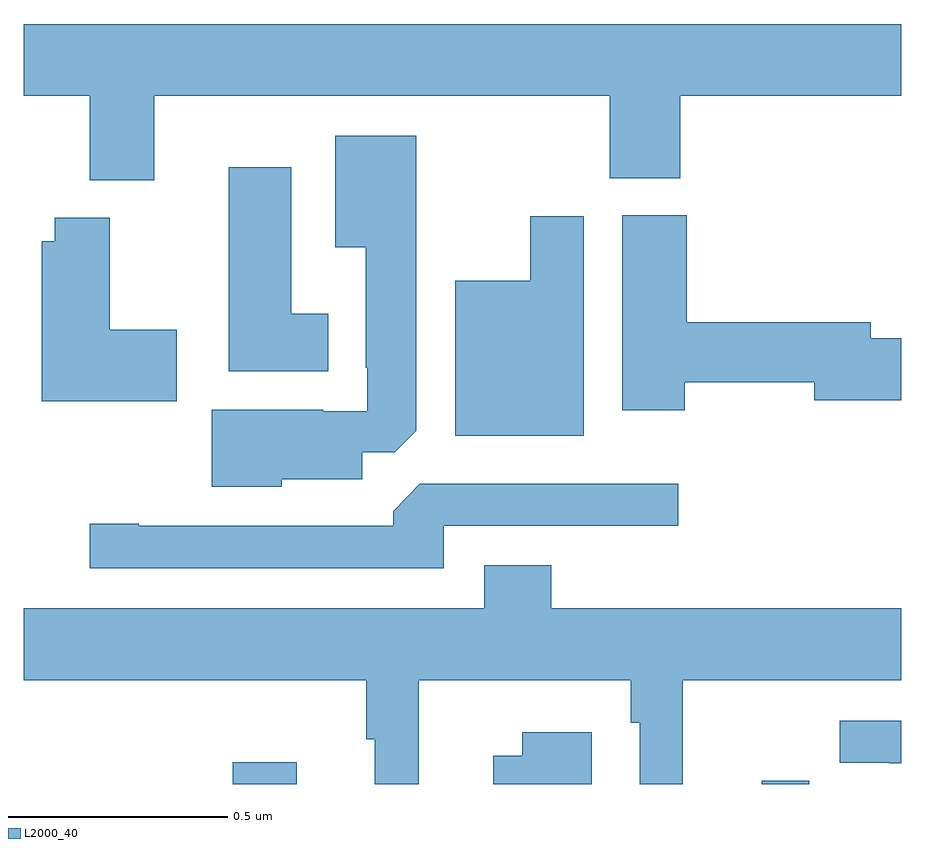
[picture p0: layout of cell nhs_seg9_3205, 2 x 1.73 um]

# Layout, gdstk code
import gdstk
lib = gdstk.Library(unit=1e-6, precision=1e-09)
def R(c, l, rs):  # rectangles x0, y0, x1, y1
    for r in rs: c.add(gdstk.rectangle(r[:2], r[2:], *l))
def P(c, l, *ps):  # polygons
    for p in ps: c.add(gdstk.Polygon(p, *l))
L2000_40 = (2000, 40)

nhs_seg9_3205 = lib.new_cell('nhs_seg9_3205')
R(nhs_seg9_3205, L2000_40, [(150.476,1213.5,150.622,1213.549), (151.682,1213.5,151.79,1213.507)])
P(nhs_seg9_3205, L2000_40, [(150.298,1215.068),(151.336,1215.068),(151.336,1214.881),(151.496,1214.881),(151.496,1215.068),(152,1215.068),(152,1215.232),(150,1215.232),(150,1215.068),(150.151,1215.068),(150.151,1214.876),(150.298,1214.876)],
  [(150.588,1214.195),(150.772,1214.195),(150.772,1214.256),(150.846,1214.256),(150.895,1214.305),(150.895,1214.977),(150.71,1214.977),(150.71,1214.723),(150.779,1214.723),(150.779,1214.449),(150.783,1214.449),(150.783,1214.349),(150.683,1214.349),(150.683,1214.353),(150.428,1214.353),(150.428,1214.177),(150.588,1214.177)],
  [(150.694,1214.572),(150.61,1214.572),(150.61,1214.905),(150.467,1214.905),(150.467,1214.441),(150.694,1214.441)],
  [(151.506,1214.416),(151.802,1214.416),(151.802,1214.374),(152,1214.374),(152,1214.516),(151.93,1214.516),(151.93,1214.552),(151.511,1214.552),(151.511,1214.796),(151.364,1214.796),(151.364,1214.352),(151.506,1214.352)],
  [(151.276,1214.794),(151.154,1214.794),(151.154,1214.647),(150.983,1214.647),(150.983,1214.294),(151.276,1214.294)],
  [(150.349,1214.535),(150.196,1214.535),(150.196,1214.791),(150.071,1214.791),(150.071,1214.737),(150.041,1214.737),(150.041,1214.372),(150.349,1214.372)],
  [(150.957,1214.088),(151.492,1214.088),(151.492,1214.184),(150.903,1214.184),(150.842,1214.122),(150.842,1214.088),(150.262,1214.088),(150.262,1214.093),(150.15,1214.093),(150.15,1213.992),(150.957,1213.992)],
  [(151.202,1213.999),(151.049,1213.999),(151.049,1213.9),(150,1213.9),(150,1213.736),(150.781,1213.736),(150.781,1213.602),(150.8,1213.602),(150.8,1213.5),(150.9,1213.5),(150.9,1213.736),(151.384,1213.736),(151.384,1213.64),(151.404,1213.64),(151.404,1213.5),(151.502,1213.5),(151.502,1213.736),(152,1213.736),(152,1213.9),(151.202,1213.9)],
  [(152,1213.644),(151.86,1213.644),(151.86,1213.548),(151.972,1213.548),(151.972,1213.547),(152,1213.547)],
  [(151.294,1213.618),(151.136,1213.618),(151.136,1213.564),(151.07,1213.564),(151.07,1213.5),(151.294,1213.5)])

lib.write_gds('nhs_seg9_3205.gds')
